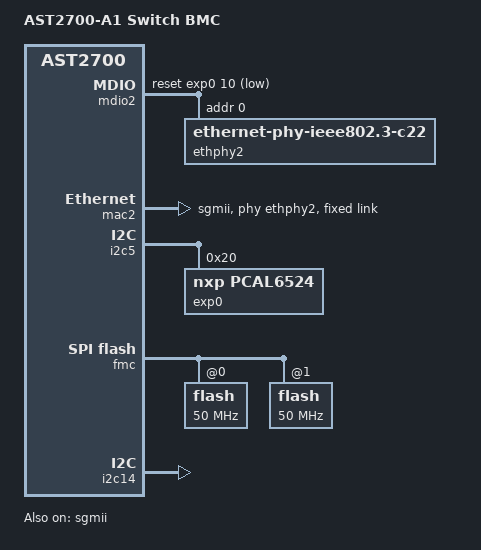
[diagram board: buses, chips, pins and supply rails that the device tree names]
// SPDX-License-Identifier: GPL-2.0+
/dts-v1/;

#include "ast2700-evb.dts"

/ {
	model = "AST2700-A1 Switch BMC";

	aliases {
		ethernet0 = &mac2;  /* Main port with PHY */
	};

	/* take effect only when CONFIG_ENV_IS_IN_MMC is enabled */
	config {
		u-boot,mmc-env-offset = <0x0>;
	};
};

&mdio0 {
	status = "disabled";
};

&mdio1 {
	status = "disabled";
};

&pcie2 {
	status = "disabled";
};

&mac0 {
	status = "disabled";
};

&mac1 {
	status = "disabled";
};

&mdio2 {
	status = "okay";
	reset-gpios = <&exp0 10 GPIO_ACTIVE_LOW>;
	reset-delay-us = <30000>;
	reset-post-delay-us = <30000>;

	ethphy2: ethernet-phy@0 {
		compatible = "ethernet-phy-ieee802.3-c22";
		reg = <0>;
	};
};

&sgmii {
	status = "okay";
};

&mac2 {
	status = "okay";
	phy-mode = "sgmii";
	phy-handle = <&ethphy2>;
	fixed-link {
		speed = <1000>;
		full-duplex;
	};
};

&i2c5 {
	status = "okay";
	exp0: pcal6524@20 {
		status = "okay";
		compatible = "nxp,pcal6524";
		reg = <0x20>;
		gpio-controller;
		#gpio-cells = <2>;
		#address-cells = <1>;
		#size-cells = <0>;

		gpio-line-names =
			"RSRVD_0", "GP_EROT_RST_IN_L",
			"GP_3V3_BMC_PHY_PG", "GP_BMC_PWR_CYCLE_3V3_MASK_L",
			"GP_BMC_SPI_BUF_OE_L", "GP_BMC_SPI_TPM_BUF_OE_L",
			"SE_CPLD_EROT_BOOT_COMPLETE", "GP_BMC_WP_CTRL_L",
			"GP_BMC_REC_SPI_MUX1_SEL", "RSRVD_1",
			"S_BMC_GPIO_PHY_RST_L", "GP_JTAG_BMC_CPLD_BURN_EN_L",
			"GP_PWR_BANK_PRESENT_L", "RSRVD_2",
			"RSRVD_3", "RSRVD_4",
			"RSRVD_5", "RSRVD_6",
			"RSRVD_7", "GP_PROD_CS_FLASH0_EN",
			"RSRVD_8", "GP_PROD_CS_FLASH1_EN",
			"RSRVD_9", "RSRVD_10";
	};
};

&fmc {
	status = "okay";
	pinctrl-names = "default";
	pinctrl-0 = <&pinctrl_fwspi_quad_default>;

	flash@0 {
		status = "okay";
		spi-max-frequency = <50000000>;
		spi-tx-bus-width = <4>;
		spi-rx-bus-width = <4>;
	};

	flash@1 {
		status = "okay";
		spi-max-frequency = <50000000>;
		spi-tx-bus-width = <4>;
		spi-rx-bus-width = <4>;
	};
};

&spi0 {
	status = "disabled";
};

&spi1 {
	status = "disabled";
};

&spi2 {
	status = "disabled";
};

&i2c14 {
	status = "okay";
};
